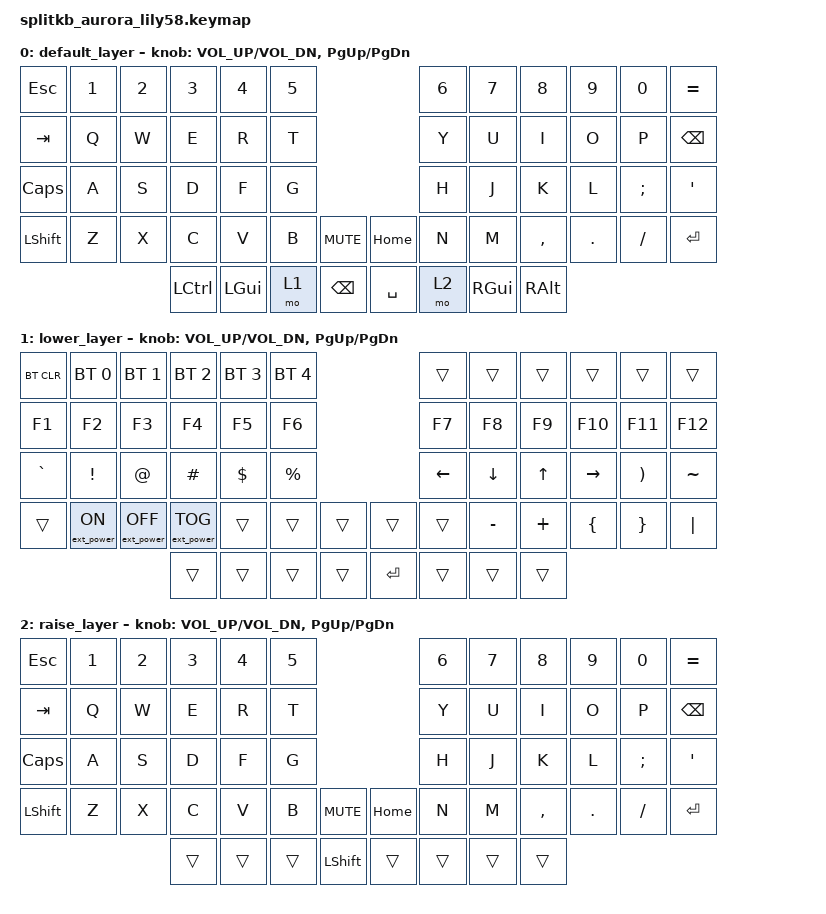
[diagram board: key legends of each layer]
/*
 * Copyright (c) 2022 The ZMK Contributors
 *
 * SPDX-License-Identifier: MIT
 */

#include <behaviors.dtsi>
#include <dt-bindings/zmk/keys.h>
#include <dt-bindings/zmk/bt.h>
#include <dt-bindings/zmk/ext_power.h>



/ {
    keymap {
        compatible = "zmk,keymap";

        default_layer {
// ------------------------------------------------------------------------------------------------------------
// |  ESC  |  1  |  2  |  3   |  4   |  5   |                   |  6   |  7    |  8    |  9   |   0   |   =   |
// |  TAB  |  Q  |  W  |  E   |  R   |  T   |                   |  Y   |  U    |  I    |  O   |   P   |   -   |
// |  CAPS |  A  |  S  |  D   |  F   |  G   |                   |  H   |  J    |  K    |  L   |   ;   |   '   |
// | SHIFT |  Z  |  X  |  C   |  V   |  B   |   MUTE  |  |  HOME  |  N   |  M    |  ,    |  .   |   /   | ENTER |
//                     | ALT  | GUI  | LOWER|  BSPC |  | SPACE | RAISE| BSPC  | GUI   |
            bindings = <
&kp ESC   &kp N1 &kp N2 &kp N3   &kp N4   &kp N5                     &kp N6 &kp N7   &kp N8    &kp N9  &kp N0   &kp EQUAL
&kp TAB   &kp Q  &kp W  &kp E    &kp R    &kp T                      &kp Y  &kp U    &kp I     &kp O   &kp P    &kp BSPC
&kp CAPS &kp A  &kp S  &kp D    &kp F    &kp G                      &kp H  &kp J    &kp K     &kp L   &kp SEMI &kp SQT
&kp LSHFT &kp Z  &kp X  &kp C    &kp V    &kp B  &kp C_MUTE   &kp HOME &kp N  &kp M    &kp COMMA &kp DOT &kp FSLH &kp ENTER
                        &kp LCTRL &kp LGUI &mo 1  &kp BSPC  &kp SPACE  &mo 2  &kp RGUI &kp RALT
            >;

            sensor-bindings = <&inc_dec_kp C_VOL_UP C_VOL_DN &inc_dec_kp PG_UP PG_DN>;
        };

        lower_layer {
// ------------------------------------------------------------------------------------------------------------
// | BTCLR | BT1 | BT2 |  BT3 |  BT4 |  BT5 |                   |      |       |       |      |       |       |
// |  F1   |  F2 |  F3 |  F4  |  F5  |  F6  |                   |  F7  |  F8   |  F9   |  F10 |  F11  |  F12  |
// |   `   |  !  |  @  |  #   |  $   |  %   |                   |  <-  |   v   |   ^   |  ->  |   )   |   ~   |
// |       |     |     |      |      |      |        |  |       |      |  _    |  +    |  {   |   }   |  "|"  |
//                     |      |      |      |        |  |  ENTER     |      |       |       |
            bindings = <
&bt BT_CLR &bt BT_SEL 0     &bt BT_SEL 1      &bt BT_SEL 2      &bt BT_SEL 3 &bt BT_SEL 4                 &trans    &trans    &trans          &trans    &trans    &trans
&kp F1     &kp F2           &kp F3            &kp F4            &kp F5       &kp F6                       &kp F7    &kp F8    &kp F9          &kp F10   &kp F11   &kp F12
&kp GRAVE  &kp EXCL         &kp AT            &kp HASH          &kp DOLLAR   &kp PRCNT                   &kp LEFT    &kp DOWN   &kp UP   &kp RIGHT  &kp RPAR  &kp TILDE
&trans     &ext_power EP_ON &ext_power EP_OFF &ext_power EP_TOG &trans       &trans    &trans   &trans    &trans    &kp MINUS &kp PLUS        &kp LBRC  &kp RBRC  &kp PIPE
                                              &trans            &trans       &trans    &trans   &kp ENTER    &trans    &trans    &trans
            >;

            sensor-bindings = <&inc_dec_kp C_VOL_UP C_VOL_DN &inc_dec_kp PG_UP PG_DN>;
        };

        raise_layer {
// ------------------------------------------------------------------------------------------------------------
// |  ESC  |  1  |  2  |  3   |  4   |  5   |                   |  6   |  7    |  8    |  9   |   0   |   =   |
// |  TAB  |  Q  |  W  |  E   |  R   |  T   |                   |  Y   |  U    |  I    |  O   |   P   |   -   |
// |  CAPS |  A  |  S  |  D   |  F   |  G   |                   |  H   |  J    |  K    |  L   |   ;   |   '   |
// | SHIFT |  Z  |  X  |  C   |  V   |  B   |   MUTE  |  |  HOME  |  N   |  M    |  ,    |  .   |   /   | ENTER |
//                     |      |      |      |   SHIFT     |  |       |      |       |       |
            bindings = <
&kp ESC   &kp N1 &kp N2 &kp N3   &kp N4   &kp N5                     &kp N6 &kp N7   &kp N8    &kp N9  &kp N0   &kp EQUAL
&kp TAB   &kp Q  &kp W  &kp E    &kp R    &kp T                      &kp Y  &kp U    &kp I     &kp O   &kp P    &kp BSPC
&kp CAPS &kp A  &kp S  &kp D    &kp F    &kp G                      &kp H  &kp J    &kp K     &kp L   &kp SEMI &kp SQT
&kp LSHFT &kp Z  &kp X  &kp C    &kp V    &kp B  &kp C_MUTE   &kp HOME &kp N  &kp M    &kp COMMA &kp DOT &kp FSLH &kp ENTER
                        &trans  &trans  &trans    &kp LSHFT   &trans    &trans      &trans    &trans
            >;

            sensor-bindings = <&inc_dec_kp C_VOL_UP C_VOL_DN &inc_dec_kp PG_UP PG_DN>;
        };
    };
};
